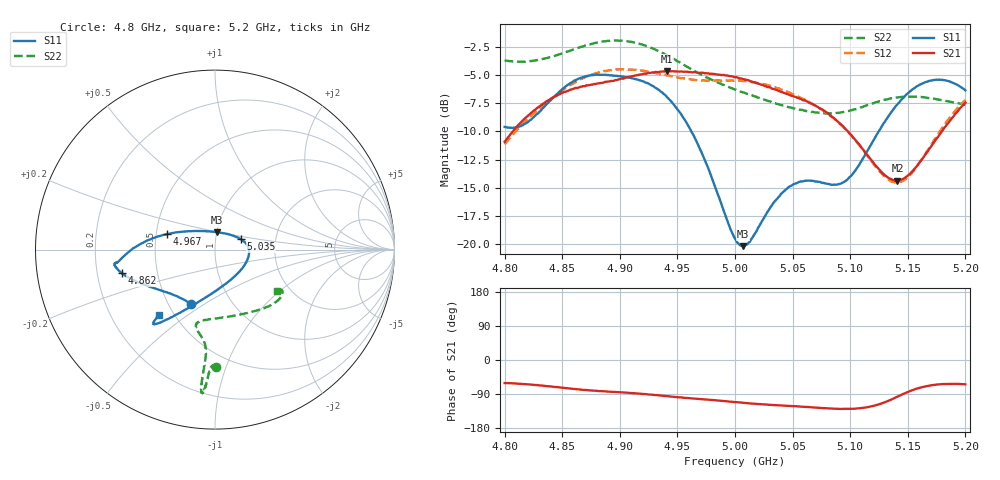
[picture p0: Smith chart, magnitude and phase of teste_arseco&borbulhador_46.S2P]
! Network Analyzer HP8722D
! Hewlett-Packard
! Data name: Linha & Wilkinson
! Saver's name: Rodrigo Anjos
! Comments: Teste da utilização de aquisição
! continua pelo VNA HP8722D
! Time and date: 15/4/2025 16:01
!  Frequency  S11  S21  S12  S22
# HZ  S  MA R 50
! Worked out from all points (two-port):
!   401 points, 4.8 GHz to 5.2 GHz, reference 50 ohm
!   highest |S21| = -4.63 dB at 4.941 GHz (marker M1); lowest = -14.4 dB at 5.141 GHz (marker M2)
!   |S21| within 3 dB of the highest: 4.832 GHz to 5.068 GHz (236.4 MHz wide, 4.78 % of centre); 5.19826 GHz to end of sweep
!   lowest |S11| = -20.2 dB at 5.007 GHz (marker M3), VSWR 1.22, Z = 50.4 + j9.83 ohm
!   |S11| at or under -10 dB: 4.962 GHz to 5.125 GHz (162.6 MHz wide, 3.22 % of centre)
!   |S22| runs from -8.4 to -1.9 dB; largest |S21 - S12| = 0.88
!   S11 on the Smith chart (normalised r, x): 4.8 GHz: 0.65, -0.44; 4.862 GHz: 0.31, -0.11; 4.967 GHz: 0.57, +0.11; 5.035 GHz: 1.33, +0.16; 5.2 GHz: 0.41, -0.39
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4.8e9  0.3311 -114.1  0.2844 -61.0  0.2777 -175.2  0.655 -89.6
4.819e9  0.3455 -133.8  0.3667 -63.9  0.3539 -173.4  0.6482 -91.2
4.862e9  0.5364 -165.9  0.4946 -76.9  0.5267 -176.7  0.7398 -93.6
4.867e9  0.5489 -167.9  0.5005 -78.5  0.5424 -177.5  0.7542 -93.8
4.901e9  0.5564 -172.4  0.5432 -85.3  0.5962 175.4  0.8018 -95.3
4.934e9  0.484 -178.2  0.5809 -93.6  0.5734 171.6  0.7188 -95.6
4.941e9  0.449 178.6  0.5866 -95.3  0.5627 171.8  0.6901 -95.5
4.954e9  0.3716 171.6  0.5839 -99.1  0.5461 172.6  0.6327 -95.3
4.967e9  0.2826 162.2  0.5787 -102.3  0.5352 173.8  0.5788 -95.0
5e9  0.1054 106.2  0.55 -111.1  0.5331 176.3  0.4858 -99.3
5.007e9  0.09753 82.3  0.5404 -112.8  0.5301 176.4  0.4717 -101.0
5.014e9  0.1047 60.0  0.5281 -115.0  0.5258 175.9  0.4595 -102.5
5.035e9  0.1555 22.0  0.4854 -119.1  0.4969 175.0  0.4224 -104.0
5.049e9  0.1813 7.2  0.4564 -121.5  0.4657 174.3  0.4039 -100.6
5.067e9  0.1906 -12.0  0.4195 -124.8  0.4207 173.7  0.3864 -91.6
5.086e9  0.1832 -42.4  0.362 -128.4  0.3621 173.8  0.3815 -77.7
5.097e9  0.1919 -65.5  0.3201 -129.0  0.3191 174.3  0.3885 -68.4
5.134e9  0.3743 -116.5  0.1954 -106.5  0.1917 -159.3  0.4423 -43.4
5.141e9  0.4176 -120.4  0.1909 -96.6  0.1873 -148.3  0.4482 -40.2
5.153e9  0.4818 -125.3  0.2078 -80.8  0.2052 -129.8  0.4522 -36.0
5.17e9  0.5329 -128.8  0.2695 -66.9  0.2742 -113.1  0.4445 -32.1
5.2e9  0.4818 -130.5  0.4247 -64.3  0.4359 -106.2  0.416 -33.5
